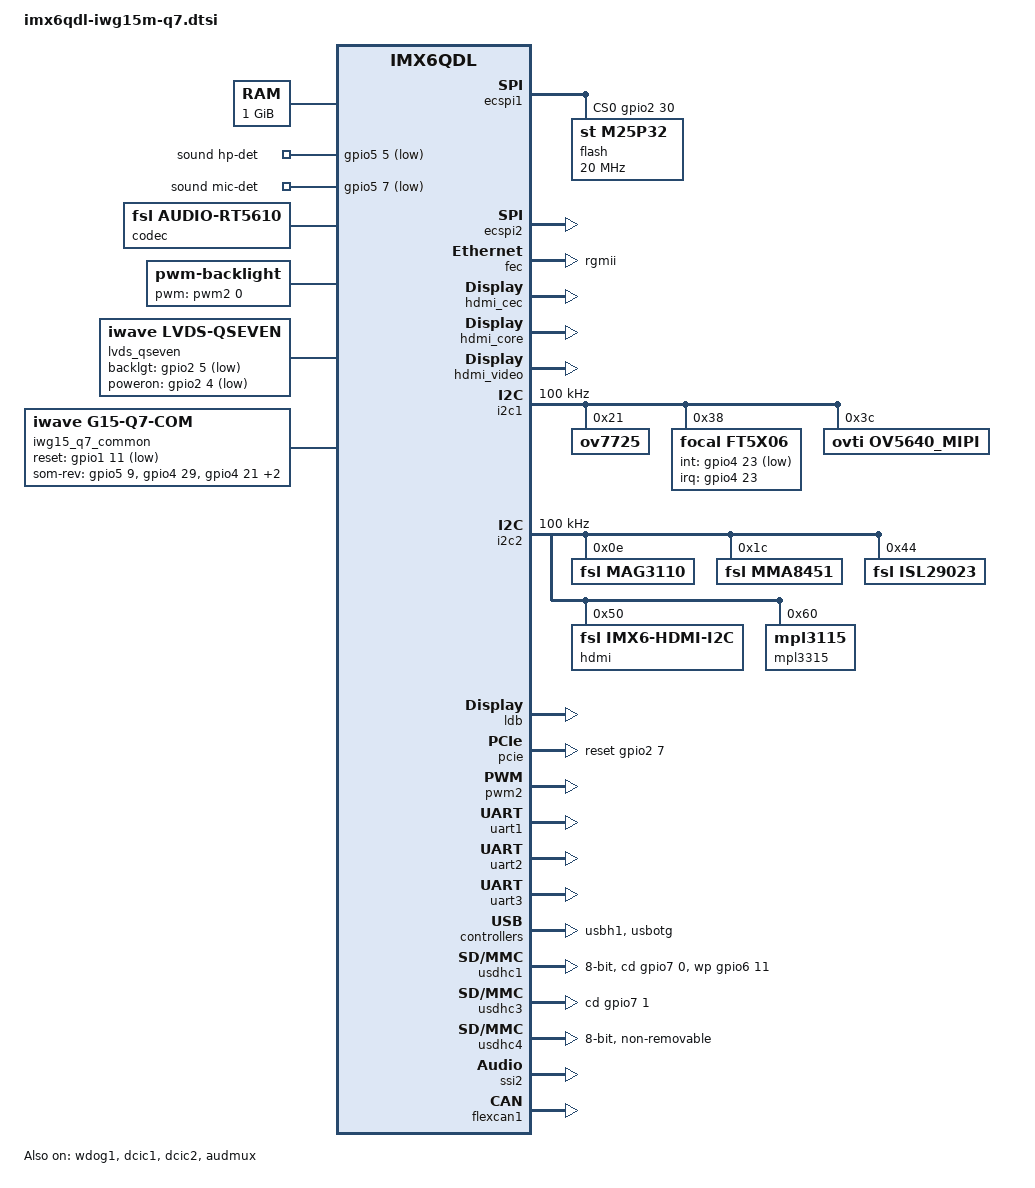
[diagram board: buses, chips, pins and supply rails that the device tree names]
/*
 * Copyright (c) 2014-2015 iWave Systems Technologies Pvt. Ltd.
 *
 * The code contained herein is licensed under the GNU General Public
 * License. You may obtain a copy of the GNU General Public License
 * Version 2 or later at the following locations:
 *
 * http://www.opensource.org/licenses/gpl-license.html
 * http://www.gnu.org/copyleft/gpl.html
 */

#include <dt-bindings/input/input.h>

/ {
	aliases {
		mxcfb0 = &mxcfb1;
		mxcfb1 = &mxcfb2;
		mxcfb2 = &mxcfb3;
		mxcfb3 = &mxcfb4;
	};

	memory {
		reg = <0x10000000 0x40000000>;
	};

	sound {
		compatible = "fsl,imx-audio-rt5610","fsl,imx6q";
		model = "iwg15m-rt5610";
		cpu-dai = <&ssi2>;
		audio-codec = <&codec>;
		audio-routing =
			"MIC_IN", "Mic Jack",
			"Mic Jack", "Mic Bias",
			"Headphone Jack", "HP_OUT";
		mux-int-port = <2>;
		mux-ext-port = <4>;
		hp-det-gpios = <&gpio5 5 1>;
		mic-det-gpios = <&gpio5 7 1>;
	};

	codec: codec {
	       compatible = "fsl,audio-rt5610";
	       status = "okay";
        };

	sound-hdmi {
		compatible = "fsl,imx6q-audio-hdmi",
			     "fsl,imx-audio-hdmi";
		model = "imx-audio-hdmi";
		hdmi-controller = <&hdmi_audio>;
	};

	mxcfb1: fb@0 {
		compatible = "fsl,mxc_sdc_fb";
		disp_dev = "ldb";
		interface_pix_fmt = "RGB24"; /*RGB666*/
		default_bpp = <24>;/*16*/
		int_clk = <0>;
		late_init = <0>;
		status = "disabled";/*disabled*/
	};

	mxcfb2: fb@1 {
		compatible = "fsl,mxc_sdc_fb";
		disp_dev = "hdmi";
		interface_pix_fmt = "RGB24";
		mode_str ="1920x1080M@60";
		default_bpp = <24>;
		int_clk = <0>;
		late_init = <0>;
		status = "disabled";
	};

	mxcfb3: fb@2 {
		compatible = "fsl,mxc_sdc_fb";
		disp_dev = "ldb";
		interface_pix_fmt = "RGB24";/*RGB666*/
		default_bpp = <24>;/*16*/
		int_clk = <0>;
		late_init = <0>;
		status = "disabled";/*disabled*/
	};

	mxcfb4: fb@3 {
		compatible = "fsl,mxc_sdc_fb";
		disp_dev = "lcd";
		interface_pix_fmt = "RGB666";
		mode_str ="LCD-WVGA";
		default_bpp = <24>;
		int_clk = <0>;
		late_init = <0>;
		status = "disabled";
	};

	backlight {
		compatible = "pwm-backlight";
		pwms = <&pwm2 0 5000000>;
		brightness-levels = <0 4 8 16 32 64 128 255>;
		default-brightness-level = <7>;
		status = "okay";
	};

	v4l2_cap_0 {
		compatible = "fsl,imx6q-v4l2-capture";
		ipu_id = <0>;
		csi_id = <0>;
		mclk_source = <0>;
		status = "disabled";/*okay*/
	};

	v4l2_cap_1: v4l2_cap_1 {
		compatible = "fsl,imx6q-v4l2-capture";
		csi_id = <1>;
		mclk_source = <0>;
		status = "disabled";/*okay*/
	};

	v4l2_out {
		compatible = "fsl,mxc_v4l2_output";
		status = "disabled";/*okay*/
	};

	unused_gpios: unused_gpios {
		compatible = "iwave,unused-gpios";
		status = "okay";
	};

	lvds_qseven {
		compatible = "iwave,lvds-qseven";
		backlgt-gpios = <&gpio2 5 1>;
		poweron-gpios = <&gpio2 4 1>;
		status = "okay";
	};

	iwg15_q7_common {
		compatible = "iwave,g15-q7-com";
		reset-gpios = <&gpio1 11 1>;
		som-rev-gpios = <&gpio5 9 0  &gpio4 29 0  &gpio4 21 0  &gpio1 27 0
			&gpio1 26 0
			>;
		status = "okay";
	};
};

&ecspi1 {
	fsl,spi-num-chipselects = <1>;
	cs-gpios = <&gpio2 30 0>;
	pinctrl-names = "default";
	pinctrl-0 = <&pinctrl_ecspi1_1 &pinctrl_ecspi1_cs_1>;
	status = "okay";

	flash: m25p80@0 {
		#address-cells = <1>;
		#size-cells = <1>;
		compatible = "st,m25p32";
		spi-max-frequency = <20000000>;
		reg = <0>;
	};
};

&ecspi2 {
	fsl,spi-num-chipselects = <2>;
	cs-gpios = <&gpio2 27 0>, <&gpio5 29 0>;
	pinctrl-names = "default";
	pinctrl-0 = <&pinctrl_ecspi2_1 &pinctrl_ecspi2_cs_1>;
	status = "okay";
};

&fec {
	pinctrl-names = "default";
	pinctrl-0 = <&pinctrl_enet_1>;
	phy-mode = "rgmii";
	fsl,magic-packet;
	status = "okay";
};

&gpc {
	fsl,ldo-bypass = <1>; /* use ldo-bypass, u-boot will check it and configure */
	fsl,wdog-reset = <1>; /* watchdog select of reset source */
};

&wdog1 {
	status = "okay";
};

&wdog2 {
	status = "disabled";
};

&hdmi_audio {
	status = "disabled";/*okay*/
};

&hdmi_cec {
	pinctrl-names = "default";
	pinctrl-0 = <&pinctrl_hdmi_cec_1>;
	status = "okay";
};

&hdmi_core {
	ipu_id = <0>;
	disp_id = <1>;/*1*/
	status = "okay";
};

&hdmi_video {
	fsl,phy_reg_vlev = <0x0294>;
	fsl,phy_reg_cksymtx = <0x800d>;
	digi,dvi_mode; /*For VGA Adapter*/
	status = "okay";
};

&mxcfb1 {
        status = "okay";
};

&mxcfb2 {
        status = "okay";
};

&i2c1 {
	clock-frequency = <100000>;
	pinctrl-names = "default";
	pinctrl-0 = <&pinctrl_i2c1_1>;
	status = "okay";

	ov7725: ov7725@21 {
		compatible = "ov7725";
		reg = <0x21>;
		pinctrl-names = "default";
	 	pinctrl-0 = <&pinctrl_csi1_1>; 
		clocks = <&clks 201>;
		clock-names = "csi_mclk";
		csi_id = <1>;
		mclk = <24000000>;
		mclk_source = <0>;
	};

	ft5x06@38 {
		compatible = "focal,ft5x06";
		reg = <0x38>;
		interrupt-parent = <&gpio4>;
		interrupts = <23 2>;
		int-gpio = <&gpio4 23 1>;
	};

	ov5640_mipi: ov5640_mipi@3c { 
		compatible = "ovti,ov5640_mipi";
		reg = <0x3c>;
		clocks = <&clks 201>;
		clock-names = "csi_mclk";
		csi_id = <0>;
		mclk = <24000000>;
		mclk_source = <0>;
	};

};

&i2c2 {
	clock-frequency = <100000>;
	pinctrl-names = "default";
	pinctrl-0 = <&pinctrl_i2c2_1>;
	status = "okay";

	mag3110@0e {
		compatible = "fsl,mag3110";
		reg = <0x0e>;
		position = <2>;
	};

	mma8451@1c {
		compatible = "fsl,mma8451";
		reg = <0x1c>;
		position = <1>;
	};

	isl29023@44 {
		compatible = "fsl,isl29023";
		reg = <0x44>;
		rext = <499>;
	};

	hdmi: edid@50 {
		compatible = "fsl,imx6-hdmi-i2c";
		reg = <0x50>;
	};

	mpl3315@60 {
		compatible = "mpl3115";
		reg = <0x60>;
	};
};

&dcic1 {
	dcic_id = <0>;
	dcic_mux = "dcic-hdmi";
	status = "okay";
};

&dcic2 {
	dcic_id = <1>;
	dcic_mux = "dcic-lvds0";/*dcic-lvds1*/
	status = "okay";
};

&ldb {
	split-mode;
	status = "okay";

	lvds-channel@0 {
		fsl,data-mapping = "spwg";
		fsl,data-width = <24>;/*18*/
		crtc = "ipu2-di0";
		primary;
		status = "okay";

		display-timings {
			native-mode = <&timing0>;
			timing0: ldb-wvga {
				clock-frequency = <178900000>;/*89400000*//*148500000*/
                                hactive = <1920>;
                                vactive = <720>;
                                hback-porch = <656>;/*96*/
                                hfront-porch = <120>;/*30*/
                                vback-porch = <35>;/*3*/
                                vfront-porch = <1>;/*3*/
                                hsync-len = <2>;
                                vsync-len = <2>;
			};
		};
	};

};

&mipi_csi {
	status = "disabled"; /*okay*/
	ipu_id = <0>;
	csi_id = <0>;
	v_channel = <0>;
	lanes = <2>;
};

&pcie {
	wake-up-gpio = <&gpio2 6 0>;
	reset-gpio = <&gpio2 7 0>;
	status = "okay";
};

&pwm2 {
	pinctrl-names = "default";
	pinctrl-0 = <&pinctrl_pwm2_1>;
	status = "okay";
};

&uart1 {
	pinctrl-names = "default";
	pinctrl-0 = <&pinctrl_uart1_1>;
	fsl,uart-has-rtscts;
	status = "okay";
};

&uart2 {
	pinctrl-names = "default";
	pinctrl-0 = <&pinctrl_uart2_1>;
	status = "okay";
};

&uart3 {
	pinctrl-names = "default";
	pinctrl-0 = <&pinctrl_uart3_1>;
	fsl,uart-has-rtscts;
	status = "okay";
};

&uart4 {
	pinctrl-names = "default";
	pinctrl-0 = <&pinctrl_uart4_1>;
	status = "disabled";
};

&usbh1 {
	status = "okay";
};

&usbotg {
	pinctrl-names = "default";
	pinctrl-0 = <&pinctrl_usbotg_1>;
	disable-over-current;
	status = "okay";
};

&usdhc1 {
	pinctrl-names = "default";
	pinctrl-0 = <&pinctrl_usdhc1_1>;
	bus-width = <8>;
	cd-gpios = <&gpio7 0 0>;
	wp-gpios = <&gpio6 11 0>;
	led-gpios = <&gpio6 7 0>;
	pwr-gpios = <&gpio6 14 0>;
	no-1-8-v;
	keep-power-in-suspend;
	enable-sdio-wakeup;
	status = "okay";
};

&usdhc3 {
	pinctrl-names = "default";
	pinctrl-0 = <&pinctrl_usdhc3_1>;
	cd-gpios = <&gpio7 1 0>;
	no-1-8-v;
	keep-power-in-suspend;
	enable-sdio-wakeup;
	status = "okay";
};

&usdhc4 {
	pinctrl-names = "default";
	pinctrl-0 = <&pinctrl_usdhc4_1>;
	bus-width = <8>;
	non-removable;
	no-1-8-v;
	keep-power-in-suspend;
	status = "okay";
};

&audmux {
	pinctrl-names = "default";
	pinctrl-0 = <&pinctrl_audmux_1>;
	status = "okay";
};

&ssi2 {
	fsl,mode = "ac97-slave";
	status = "okay";
};

&flexcan1 {
        pinctrl-names = "default";
        pinctrl-0 = <&pinctrl_flexcan1_1>;
        trx-en-gpio = <&gpio5 6 1>;
        status = "okay";
};
